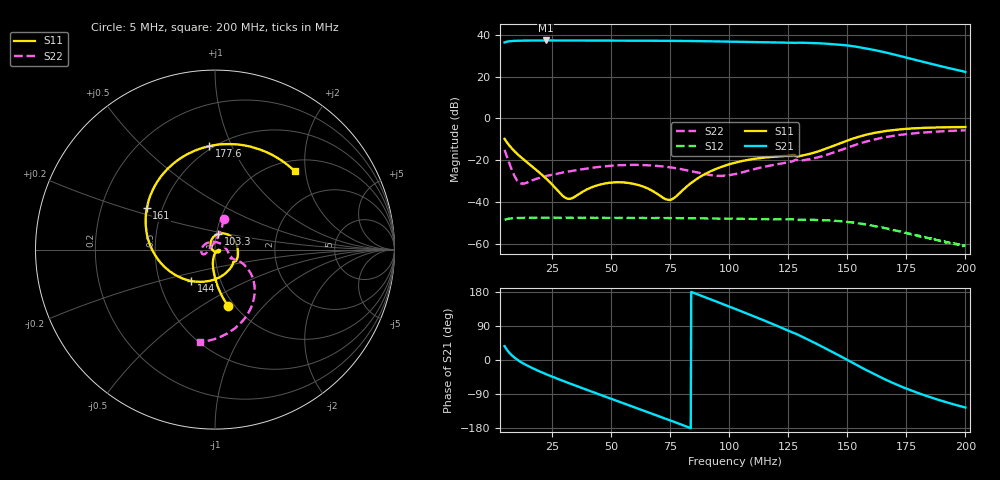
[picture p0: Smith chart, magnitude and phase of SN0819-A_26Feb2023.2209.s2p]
# Hz S DB R 50
! CMT, M5045, 22160017, 22.4.3/2
! Date: 2/26/2023 22:09:34
! Data: Format (Calibration Info)
! Freq	S11:dB/Ang(F2)	S21:dB/Ang(F2)	S12:dB/Ang(F2)	S22:dB/Ang(F2)
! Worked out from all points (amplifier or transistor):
!   1001 points, 5 MHz to 200 MHz, reference 50 ohm
!   highest |S21| = 37.3 dB at 22.36 MHz (marker M1)
!   |S21| within 3 dB of that: start of sweep to 153.9 MHz
!   unconditionally stable (mu >= 1): start of sweep to end of sweep
!   at 37.37 MHz: K = 1.78, MAG = 37.3 dB, |S12| = -47.6 dB
!   at 102.5 MHz: K = 1.96, MAG = 36.8 dB, |S12| = -48.1 dB
!   at 200 MHz: K = 19.09, MAG = 25.7 dB, |S12| = -60.8 dB
!   S11 on the Smith chart (normalised r, x): 5 MHz: 0.94, -0.66; 103.3 MHz: 1.02, +0.18; 144 MHz: 0.72, -0.27; 161 MHz: 0.41, +0.24; 177.6 MHz: 0.48, +0.82; 200 MHz: 1.23, +1.75
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5000000  -9.80 -76.7  36.42 36.6  -48.46 40.0  -15.02 74.4
7730000  -13.92 -86.1  37.03 14.2  -47.82 17.0  -23.66 78.9
1.085e7  -17.50 -92.3  37.21 -1.2  -47.61 2.0  -30.45 116.1
2.2355e7  -28.57 -100.1  37.34 -36.9  -47.52 -33.9  -27.64 -169.4
3.7565e7  -35.41 -8.8  37.31 -73.6  -47.57 -68.7  -24.36 -156.4
5.336e7  -30.53 -16.5  37.25 -109.6  -47.61 -102.2  -22.38 -164.4
7.013e7  -36.46 -75.7  37.18 -147.9  -47.65 -138.5  -22.75 171.1
7.832e7  -36.56 -176.3  37.12 -167.0  -47.74 -156.5  -23.98 151.9
8.612e7  -29.10 134.7  37.03 174.5  -47.84 -174.0  -25.78 126.1
9.4115e7  -24.33 106.8  36.89 155.4  -47.93 167.4  -27.37 87.3
1.025e8  -21.18 80.4  36.74 135.0  -48.05 148.2  -26.62 39.8
1.0328e8  -20.95 77.9  36.73 133.1  -48.03 146.6  -26.44 35.8
1.11665e8  -19.18 49.8  36.58 112.3  -48.15 126.8  -24.00 3.0
1.1966e8  -18.26 18.1  36.42 91.7  -48.19 107.2  -22.03 -15.4
1.2941e8  -18.17 -34.6  36.28 65.9  -48.51 80.7  -20.13 -29.5
1.35065e8  -16.67 -69.4  36.10 48.7  -48.49 65.3  -19.30 -27.6
1.44035e8  -13.16 -127.4  35.59 20.4  -49.00 38.1  -16.37 -25.7
1.5164e8  -9.92 -169.0  34.71 -5.2  -49.82 13.1  -13.32 -30.8
1.61e8  -7.04 148.6  32.89 -36.0  -51.36 -16.4  -10.19 -44.4
1.6763e8  -5.80 123.9  31.21 -55.9  -52.88 -36.7  -8.65 -55.7
1.77575e8  -4.77 93.4  28.41 -81.6  -55.65 -60.7  -7.19 -71.7
2e8  -4.11 44.4  22.30 -125.4  -60.80 -103.9  -5.66 -99.1
